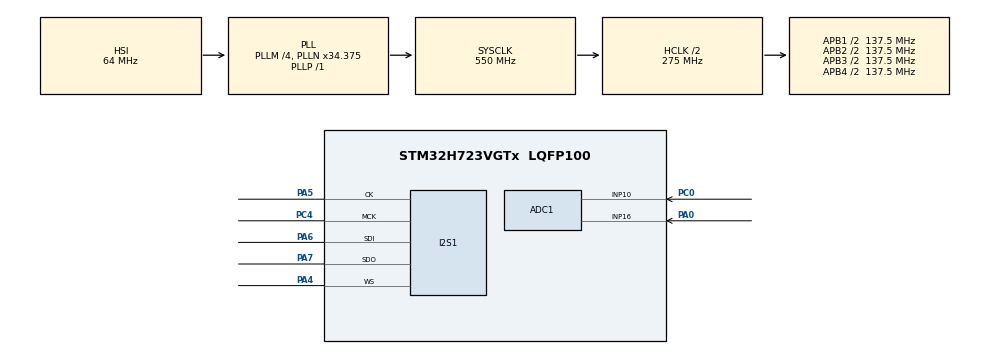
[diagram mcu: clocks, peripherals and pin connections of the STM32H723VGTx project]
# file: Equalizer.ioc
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ADC1.Channel-0\#ChannelRegularConversion=ADC_CHANNEL_10
ADC1.Channel-1\#ChannelRegularConversion=ADC_CHANNEL_16
ADC1.ContinuousConvMode=ENABLE
ADC1.ConversionDataManagement=ADC_CONVERSIONDATA_DMA_CIRCULAR
ADC1.NbrOfConversion=2
ADC1.NbrOfConversionFlag=1
ADC1.OffsetNumber-0\#ChannelRegularConversion=ADC_OFFSET_NONE
ADC1.OffsetNumber-1\#ChannelRegularConversion=ADC_OFFSET_NONE
ADC1.OffsetSignedSaturation-0\#ChannelRegularConversion=DISABLE
ADC1.OffsetSignedSaturation-1\#ChannelRegularConversion=DISABLE
ADC1.Overrun=ADC_OVR_DATA_OVERWRITTEN
ADC1.OversamplingMode=ENABLE
ADC1.Rank-0\#ChannelRegularConversion=1
ADC1.Rank-1\#ChannelRegularConversion=2
ADC1.Ratio=16
ADC1.RightBitShift=ADC_RIGHTBITSHIFT_4
ADC1.SamplingTime-0\#ChannelRegularConversion=ADC_SAMPLETIME_810CYCLES_5
ADC1.SamplingTime-1\#ChannelRegularConversion=ADC_SAMPLETIME_810CYCLES_5
ADC1.master=1
Dma.ADC1.0.Direction=DMA_PERIPH_TO_MEMORY
Dma.ADC1.0.EventEnable=DISABLE
Dma.ADC1.0.FIFOMode=DMA_FIFOMODE_DISABLE
Dma.ADC1.0.Instance=DMA1_Stream0
Dma.ADC1.0.MemDataAlignment=DMA_MDATAALIGN_HALFWORD
Dma.ADC1.0.MemInc=DMA_MINC_ENABLE
Dma.ADC1.0.Mode=DMA_CIRCULAR
Dma.ADC1.0.PeriphDataAlignment=DMA_PDATAALIGN_HALFWORD
Dma.ADC1.0.PeriphInc=DMA_PINC_DISABLE
Dma.ADC1.0.Polarity=HAL_DMAMUX_REQ_GEN_RISING
Dma.ADC1.0.Priority=DMA_PRIORITY_LOW
Dma.ADC1.0.RequestNumber=1
Dma.ADC1.0.SignalID=NONE
Dma.ADC1.0.SyncEnable=DISABLE
Dma.ADC1.0.SyncPolarity=HAL_DMAMUX_SYNC_NO_EVENT
Dma.ADC1.0.SyncRequestNumber=1
Dma.ADC1.0.SyncSignalID=NONE
Dma.Request0=ADC1
Dma.Request1=SPI1_RX
Dma.Request2=SPI1_TX
Dma.SPI1_RX.1.Direction=DMA_PERIPH_TO_MEMORY
Dma.SPI1_RX.1.EventEnable=DISABLE
Dma.SPI1_RX.1.FIFOMode=DMA_FIFOMODE_DISABLE
Dma.SPI1_RX.1.Instance=DMA1_Stream1
Dma.SPI1_RX.1.MemDataAlignment=DMA_MDATAALIGN_WORD
Dma.SPI1_RX.1.MemInc=DMA_MINC_ENABLE
Dma.SPI1_RX.1.Mode=DMA_CIRCULAR
Dma.SPI1_RX.1.PeriphDataAlignment=DMA_PDATAALIGN_WORD
Dma.SPI1_RX.1.PeriphInc=DMA_PINC_DISABLE
Dma.SPI1_RX.1.Polarity=HAL_DMAMUX_REQ_GEN_RISING
Dma.SPI1_RX.1.Priority=DMA_PRIORITY_HIGH
Dma.SPI1_RX.1.RequestNumber=1
Dma.SPI1_RX.1.SignalID=NONE
Dma.SPI1_RX.1.SyncEnable=DISABLE
Dma.SPI1_RX.1.SyncPolarity=HAL_DMAMUX_SYNC_NO_EVENT
Dma.SPI1_RX.1.SyncRequestNumber=1
Dma.SPI1_RX.1.SyncSignalID=NONE
Dma.SPI1_TX.2.Direction=DMA_MEMORY_TO_PERIPH
Dma.SPI1_TX.2.EventEnable=DISABLE
Dma.SPI1_TX.2.FIFOMode=DMA_FIFOMODE_DISABLE
Dma.SPI1_TX.2.Instance=DMA1_Stream2
Dma.SPI1_TX.2.MemDataAlignment=DMA_MDATAALIGN_WORD
Dma.SPI1_TX.2.MemInc=DMA_MINC_ENABLE
Dma.SPI1_TX.2.Mode=DMA_CIRCULAR
Dma.SPI1_TX.2.PeriphDataAlignment=DMA_PDATAALIGN_WORD
Dma.SPI1_TX.2.PeriphInc=DMA_PINC_DISABLE
Dma.SPI1_TX.2.Polarity=HAL_DMAMUX_REQ_GEN_RISING
Dma.SPI1_TX.2.Priority=DMA_PRIORITY_HIGH
Dma.SPI1_TX.2.RequestNumber=1
Dma.SPI1_TX.2.SignalID=NONE
Dma.SPI1_TX.2.SyncEnable=DISABLE
Dma.SPI1_TX.2.SyncPolarity=HAL_DMAMUX_SYNC_NO_EVENT
Dma.SPI1_TX.2.SyncRequestNumber=1
Dma.SPI1_TX.2.SyncSignalID=NONE
I2S1.AudioFreq=I2S_AUDIOFREQ_48K
I2S1.DataFormat=I2S_DATAFORMAT_24B
I2S1.ErrorAudioFreq=-0.53 %
I2S1.Instance=SPI$Index
I2S1.RealAudioFreq=47.743 KHz
Mcu.Family=STM32H7
Mcu.Name=STM32H723VGTx
Mcu.Package=LQFP100
NVIC.DMA1_Stream0_IRQn=true\:0\:0\:true\:false\:true\:false\:true\:true
NVIC.DMA1_Stream1_IRQn=true\:0\:0\:true\:false\:true\:false\:true\:true
NVIC.DMA1_Stream2_IRQn=true\:0\:0\:true\:false\:true\:false\:true\:true
NVIC.PriorityGroup=NVIC_PRIORITYGROUP_4
PA0.Mode=IN16-Single-Ended
PA0.Signal=ADC1_INP16
PA13(JTMS/SWDIO).Mode=Serial_Wire
PA13(JTMS/SWDIO).Signal=DEBUG_JTMS-SWDIO
PA14(JTCK/SWCLK).Mode=Serial_Wire
PA14(JTCK/SWCLK).Signal=DEBUG_JTCK-SWCLK
PA4.Mode=Full_Duplex_Master
PA4.Signal=I2S1_WS
PA5.Mode=Full_Duplex_Master
PA5.Signal=I2S1_CK
PA6.Mode=Full_Duplex_Master
PA6.Signal=I2S1_SDI
PA7.Mode=Full_Duplex_Master
PA7.Signal=I2S1_SDO
PC0.Signal=ADCx_INP10
PC4.Mode=Master_Clock_Activated
PC4.Signal=I2S1_MCK
PH0-OSC_IN.Mode=HSE-External-Oscillator
PH0-OSC_IN.Signal=RCC_OSC_IN
PH1-OSC_OUT.Mode=HSE-External-Oscillator
PH1-OSC_OUT.Signal=RCC_OSC_OUT
ProjectManager.HeapSize=0x200
ProjectManager.StackSize=0x400
ProjectManager.TargetToolchain=STM32CubeIDE
RCC.ADCFreq_Value=96000000
RCC.APB1Freq_Value=137500000
RCC.APB2Freq_Value=137500000
RCC.APB3Freq_Value=137500000
RCC.APB4Freq_Value=137500000
RCC.CortexFreq_Value=550000000
RCC.D1PPRE=RCC_APB3_DIV2
RCC.D2PPRE1=RCC_APB1_DIV2
RCC.D2PPRE2=RCC_APB2_DIV2
RCC.D3PPRE=RCC_APB4_DIV2
RCC.DIVM1=4
RCC.DIVM2=4
RCC.DIVN1=34
RCC.DIVN2=12
RCC.DIVP1=1
RCC.DIVQ1=3
RCC.HCLKFreq_Value=275000000
RCC.HPRE=RCC_HCLK_DIV2
RCC.PLL2FRACN=0
RCC.PLL3FRACN=0
RCC.PLLFRACN=3072
RCC.SYSCLKFreq_VALUE=550000000
RCC.SYSCLKSource=RCC_SYSCLKSOURCE_PLLCLK
RCC.USBFreq_Value=183333333.33333334
SH.ADCx_INP10.0=ADC1_INP10,IN10-Single-Ended
VP_CORDIC_VS_CORDIC.Mode=CORDIC_Activate
VP_FMAC_VS_FMAC.Mode=FMAC_Activate
board=custom

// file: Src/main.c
/* USER CODE BEGIN Header */
/**
 ******************************************************************************
 * @file           : main.c
 * @brief          : Main program body
 ******************************************************************************
 * @attention
 *
 * Copyright (c) 2024 STMicroelectronics.
 * All rights reserved.
 *
 * This software is licensed under terms that can be found in the LICENSE file
 * in the root directory of this software component.
 * If no LICENSE file comes with this software, it is provided AS-IS.
 *
 ******************************************************************************
 */
/* USER CODE END Header */
#include "main.h"

/* USER CODE BEGIN Includes */

#include "arm_math.h"
/* USER CODE END Includes */

ADC_HandleTypeDef hadc1;
DMA_HandleTypeDef hdma_adc1;

CORDIC_HandleTypeDef hcordic;

FMAC_HandleTypeDef hfmac;

I2S_HandleTypeDef hi2s1;
DMA_HandleTypeDef hdma_spi1_rx;
DMA_HandleTypeDef hdma_spi1_tx;

/* USER CODE BEGIN PV */

volatile static uint16_t adc_val[2];
uint32_t rxBuf[1024];
uint32_t txBuf[1024];
float l_buf_in[256];
float r_buf_in[256];
float l_buf_out[256];
float r_buf_out[256];

float iir_coeffs[5] = { 1.0041645480379269, -1.9797515357244457,
		0.9759879669583226, -1.9798515425143588, 0.9800525082063363 };

float iir_l_state[4];
float iir_r_state[4];

uint8_t callback_state = 0;

/* USER CODE END PV */

void SystemClock_Config(void);
static void MX_GPIO_Init(void);
static void MX_DMA_Init(void);
static void MX_ADC1_Init(void);
static void MX_I2S1_Init(void);
static void MX_CORDIC_Init(void);
static void MX_FMAC_Init(void);

int main(void) {

	/* MCU Configuration--------------------------------------------------------*/

	/* Reset of all peripherals, Initializes the Flash interface and the Systick. */
	HAL_Init();

	/* Configure the system clock */
	SystemClock_Config();

	/* Initialize all configured peripherals */
	MX_GPIO_Init();
	MX_DMA_Init();
	MX_ADC1_Init();
	MX_I2S1_Init();
	MX_CORDIC_Init();
	MX_FMAC_Init();
	/* USER CODE BEGIN 2 */
	arm_biquad_casd_df1_inst_f32 iirsettings_l, iirsettings_r;

	arm_biquad_cascade_df1_init_f32(&iirsettings_l, 1, iir_coeffs, iir_l_state);
	arm_biquad_cascade_df1_init_f32(&iirsettings_r, 1, iir_coeffs, iir_r_state);

	if (HAL_ADCEx_Calibration_Start(&hadc1, ADC_CALIB_OFFSET_LINEARITY,
	ADC_SINGLE_ENDED) != HAL_OK) {
		Error_Handler();
	}
	HAL_ADC_Start_DMA(&hadc1, (uint32_t*) adc_val, 2);

	HAL_I2SEx_TransmitReceive_DMA(&hi2s1, (uint16_t*) txBuf, (uint16_t*) rxBuf,
			1024);

	/* USER CODE END 2 */

	/* Infinite loop */
	/* USER CODE BEGIN WHILE */
	while (1) {
		if (callback_state != 0) {
			if (callback_state == 1) {
				uint16_t x = 0;
				for (int i = 0; i < 511; i = i + 2) {
					l_buf_in[x] = (float32_t) rxBuf[i];
					r_buf_in[x] = (float32_t) rxBuf[i + 1];
					x++;
				}
				x = 0;
				arm_biquad_cascade_df1_f32(&iirsettings_l, &l_buf_in[0],
						&l_buf_out[0], 256);
				arm_biquad_cascade_df1_f32(&iirsettings_r, &r_buf_in[0],
						&r_buf_out[0], 256);
				for (int i = 0; i < 511; i = i + 2) {
					txBuf[i] = (uint32_t) l_buf_out[x];
					txBuf[i + 1] = (uint32_t) r_buf_out[x];
					x++;
				}
				x = 0;
			} else if (callback_state == 2) {
				uint16_t x = 0;
				for (int i = 512; i < 1023; i = i + 2) {
					l_buf_in[x] = (float32_t) rxBuf[i];
					r_buf_in[x] = (float32_t) rxBuf[i + 1];
					x++;
				}
				x = 0;
				arm_biquad_cascade_df1_f32(&iirsettings_l, &l_buf_in[0],
						&l_buf_out[0], 256);
				arm_biquad_cascade_df1_f32(&iirsettings_r, &r_buf_in[0],
						&r_buf_out[0], 256);
				for (int i = 512; i < 1023; i = i + 2) {
					txBuf[i] = (uint32_t) l_buf_out[x];
					txBuf[i + 1] = (uint32_t) r_buf_out[x];
					x++;
				}
				x = 0;
			}
			callback_state = 0;
		}

		/* USER CODE END WHILE */

	}
}

void SystemClock_Config(void) {
	RCC_OscInitTypeDef RCC_OscInitStruct = { 0 };
	RCC_ClkInitTypeDef RCC_ClkInitStruct = { 0 };

	/** Supply configuration update enable
	 */
	HAL_PWREx_ConfigSupply(PWR_LDO_SUPPLY);

	/** Configure the main internal regulator output voltage
	 */
	__HAL_PWR_VOLTAGESCALING_CONFIG(PWR_REGULATOR_VOLTAGE_SCALE0);

	while (!__HAL_PWR_GET_FLAG(PWR_FLAG_VOSRDY)) {
	}

	/** Initializes the RCC Oscillators according to the specified parameters
	 * in the RCC_OscInitTypeDef structure.
	 */
	RCC_OscInitStruct.OscillatorType = RCC_OSCILLATORTYPE_HSI;
	RCC_OscInitStruct.HSIState = RCC_HSI_DIV1;
	RCC_OscInitStruct.HSICalibrationValue = 64;
	RCC_OscInitStruct.PLL.PLLState = RCC_PLL_ON;
	RCC_OscInitStruct.PLL.PLLSource = RCC_PLLSOURCE_HSI;
	RCC_OscInitStruct.PLL.PLLM = 4;
	RCC_OscInitStruct.PLL.PLLN = 34;
	RCC_OscInitStruct.PLL.PLLP = 1;
	RCC_OscInitStruct.PLL.PLLQ = 3;
	RCC_OscInitStruct.PLL.PLLR = 2;
	RCC_OscInitStruct.PLL.PLLRGE = RCC_PLL1VCIRANGE_3;
	RCC_OscInitStruct.PLL.PLLVCOSEL = RCC_PLL1VCOWIDE;
	RCC_OscInitStruct.PLL.PLLFRACN = 3072;
	if (HAL_RCC_OscConfig(&RCC_OscInitStruct) != HAL_OK) {
		Error_Handler();
	}

	/** Initializes the CPU, AHB and APB buses clocks
	 */
	RCC_ClkInitStruct.ClockType = RCC_CLOCKTYPE_HCLK | RCC_CLOCKTYPE_SYSCLK
			| RCC_CLOCKTYPE_PCLK1 | RCC_CLOCKTYPE_PCLK2 | RCC_CLOCKTYPE_D3PCLK1
			| RCC_CLOCKTYPE_D1PCLK1;
	RCC_ClkInitStruct.SYSCLKSource = RCC_SYSCLKSOURCE_PLLCLK;
	RCC_ClkInitStruct.SYSCLKDivider = RCC_SYSCLK_DIV1;
	RCC_ClkInitStruct.AHBCLKDivider = RCC_HCLK_DIV2;
	RCC_ClkInitStruct.APB3CLKDivider = RCC_APB3_DIV2;
	RCC_ClkInitStruct.APB1CLKDivider = RCC_APB1_DIV2;
	RCC_ClkInitStruct.APB2CLKDivider = RCC_APB2_DIV2;
	RCC_ClkInitStruct.APB4CLKDivider = RCC_APB4_DIV2;

	if (HAL_RCC_ClockConfig(&RCC_ClkInitStruct, FLASH_LATENCY_3) != HAL_OK) {
		Error_Handler();
	}
}

static void MX_ADC1_Init(void) {

	ADC_MultiModeTypeDef multimode = { 0 };
	ADC_ChannelConfTypeDef sConfig = { 0 };

	/** Common config
	 */
	hadc1.Instance = ADC1;
	hadc1.Init.ClockPrescaler = ADC_CLOCK_ASYNC_DIV1;
	hadc1.Init.Resolution = ADC_RESOLUTION_16B;
	hadc1.Init.ScanConvMode = ADC_SCAN_ENABLE;
	hadc1.Init.EOCSelection = ADC_EOC_SINGLE_CONV;
	hadc1.Init.LowPowerAutoWait = DISABLE;
	hadc1.Init.ContinuousConvMode = ENABLE;
	hadc1.Init.NbrOfConversion = 2;
	hadc1.Init.DiscontinuousConvMode = DISABLE;
	hadc1.Init.ExternalTrigConv = ADC_SOFTWARE_START;
	hadc1.Init.ExternalTrigConvEdge = ADC_EXTERNALTRIGCONVEDGE_NONE;
	hadc1.Init.ConversionDataManagement = ADC_CONVERSIONDATA_DMA_CIRCULAR;
	hadc1.Init.Overrun = ADC_OVR_DATA_OVERWRITTEN;
	hadc1.Init.LeftBitShift = ADC_LEFTBITSHIFT_NONE;
	hadc1.Init.OversamplingMode = ENABLE;
	hadc1.Init.Oversampling.Ratio = 16;
	hadc1.Init.Oversampling.RightBitShift = ADC_RIGHTBITSHIFT_4;
	hadc1.Init.Oversampling.TriggeredMode = ADC_TRIGGEREDMODE_SINGLE_TRIGGER;
	hadc1.Init.Oversampling.OversamplingStopReset =
	ADC_REGOVERSAMPLING_CONTINUED_MODE;
	if (HAL_ADC_Init(&hadc1) != HAL_OK) {
		Error_Handler();
	}

	/** Configure the ADC multi-mode
	 */
	multimode.Mode = ADC_MODE_INDEPENDENT;
	if (HAL_ADCEx_MultiModeConfigChannel(&hadc1, &multimode) != HAL_OK) {
		Error_Handler();
	}

	/** Configure Regular Channel
	 */
	sConfig.Channel = ADC_CHANNEL_10;
	sConfig.Rank = ADC_REGULAR_RANK_1;
	sConfig.SamplingTime = ADC_SAMPLETIME_810CYCLES_5;
	sConfig.SingleDiff = ADC_SINGLE_ENDED;
	sConfig.OffsetNumber = ADC_OFFSET_NONE;
	sConfig.Offset = 0;
	sConfig.OffsetSignedSaturation = DISABLE;
	if (HAL_ADC_ConfigChannel(&hadc1, &sConfig) != HAL_OK) {
		Error_Handler();
	}

	/** Configure Regular Channel
	 */
	sConfig.Channel = ADC_CHANNEL_16;
	sConfig.Rank = ADC_REGULAR_RANK_2;
	if (HAL_ADC_ConfigChannel(&hadc1, &sConfig) != HAL_OK) {
		Error_Handler();
	}

}

static void MX_CORDIC_Init(void) {

	hcordic.Instance = CORDIC;
	if (HAL_CORDIC_Init(&hcordic) != HAL_OK) {
		Error_Handler();
	}

}

static void MX_FMAC_Init(void) {

	hfmac.Instance = FMAC;
	if (HAL_FMAC_Init(&hfmac) != HAL_OK) {
		Error_Handler();
	}

}

static void MX_I2S1_Init(void) {

	hi2s1.Instance = SPI1;
	hi2s1.Init.Mode = I2S_MODE_MASTER_FULLDUPLEX;
	hi2s1.Init.Standard = I2S_STANDARD_PHILIPS;
	hi2s1.Init.DataFormat = I2S_DATAFORMAT_24B;
	hi2s1.Init.MCLKOutput = I2S_MCLKOUTPUT_ENABLE;
	hi2s1.Init.AudioFreq = I2S_AUDIOFREQ_48K;
	hi2s1.Init.CPOL = I2S_CPOL_LOW;
	hi2s1.Init.FirstBit = I2S_FIRSTBIT_MSB;
	hi2s1.Init.WSInversion = I2S_WS_INVERSION_DISABLE;
	hi2s1.Init.Data24BitAlignment = I2S_DATA_24BIT_ALIGNMENT_RIGHT;
	hi2s1.Init.MasterKeepIOState = I2S_MASTER_KEEP_IO_STATE_DISABLE;
	if (HAL_I2S_Init(&hi2s1) != HAL_OK) {
		Error_Handler();
	}

}

static void MX_DMA_Init(void) {

	/* DMA controller clock enable */
	__HAL_RCC_DMA1_CLK_ENABLE();

	/* DMA interrupt init */
	/* DMA1_Stream0_IRQn interrupt configuration */
	HAL_NVIC_SetPriority(DMA1_Stream0_IRQn, 0, 0);
	HAL_NVIC_EnableIRQ(DMA1_Stream0_IRQn);
	/* DMA1_Stream1_IRQn interrupt configuration */
	HAL_NVIC_SetPriority(DMA1_Stream1_IRQn, 0, 0);
	HAL_NVIC_EnableIRQ(DMA1_Stream1_IRQn);
	/* DMA1_Stream2_IRQn interrupt configuration */
	HAL_NVIC_SetPriority(DMA1_Stream2_IRQn, 0, 0);
	HAL_NVIC_EnableIRQ(DMA1_Stream2_IRQn);

}

static void MX_GPIO_Init(void) {

	/* GPIO Ports Clock Enable */
	__HAL_RCC_GPIOH_CLK_ENABLE();
	__HAL_RCC_GPIOC_CLK_ENABLE();
	__HAL_RCC_GPIOA_CLK_ENABLE();

}

/* USER CODE BEGIN 4 */

void HAL_I2SEx_TxRxHalfCpltCallback(I2S_HandleTypeDef *hi2s) {

	callback_state = 1;

}

void HAL_I2SEx_TxRxCpltCallback(I2S_HandleTypeDef *hi2s) {

	callback_state = 2;

}

/* USER CODE END 4 */

void Error_Handler(void) {
	__disable_irq();
	while (1) {
	}
}
